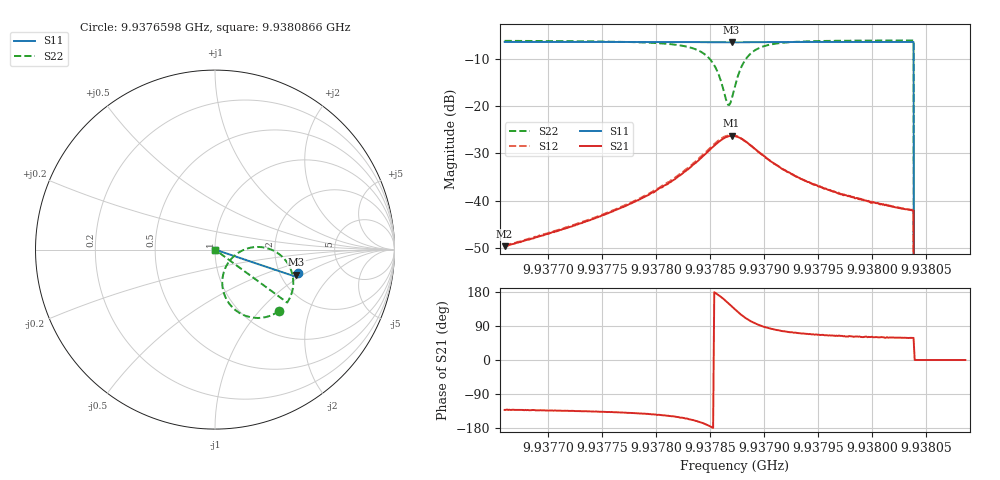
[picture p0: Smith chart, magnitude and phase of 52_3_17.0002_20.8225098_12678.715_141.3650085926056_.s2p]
#  HZ  S  RI  R  50.00
! Rohde & Schwarz Vector Network Analyzer
! Rohde-Schwarz,ZNB20-2Port,1311601062101988,3.16
! Created: UTC 3/20/2024, 10:54:21 PM
! freq[Hz]  re:S11  im:S11  re:S21  im:S21  re:S12  im:S12  re:S22  im:S22
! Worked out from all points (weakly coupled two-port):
!   401 points, 9.9376598 GHz to 9.9380866 GHz, reference 50 ohm
!   highest |S21| = -26.25 dB at 9.93787 GHz (marker M1); lowest = -49.7 dB at 9.9376598 GHz (marker M2)
!   lowest |S11| = -6.5 dB at 9.93787 GHz (marker M3), VSWR 2.81, Z = 122 - j44.2 ohm
!   |S11| at or under -10 dB: 9.9380386 GHz to end of sweep
!   |S22| runs from - to -6.0 dB; largest |S21 - S12| = 0.0032
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9.93765984e9  0.4639 -0.1295  -0.00218 -0.00245  -0.00223 -0.00247  0.3577 -0.3408
9.93773132e9  0.4621 -0.1347  -0.0041 -0.00405  -0.00425 -0.00412  0.3363 -0.3549
9.93777186e9  0.461 -0.1376  -0.00659 -0.00575  -0.00691 -0.00578  0.3117 -0.3668
9.9378028e9  0.4598 -0.1399  -0.0109 -0.00776  -0.0112 -0.00757  0.273 -0.3779
9.93782947e9  0.458 -0.1418  -0.0193 -0.00897  -0.0203 -0.00883  0.1992 -0.3771
9.93784547e9  0.4564 -0.1428  -0.0303 -0.006  -0.0317 -0.00525  0.1121 -0.3357
9.93785187e9  0.4556 -0.143  -0.0362 -0.00144  -0.0377 6.11e-05  0.0705 -0.2884
9.93785614e9  0.4548 -0.1427  -0.0399 0.00362  -0.0413 0.00541  0.0489 -0.2397
9.93786574e9  0.4539 -0.1414  -0.0422 0.0213  -0.0422 0.0243  0.0641 -0.0891
9.93786788e9  0.4539 -0.141  -0.0408 0.0259  -0.0402 0.0288  0.0862 -0.0566
9.93787001e9  0.4539 -0.1405  -0.0383 0.0301  -0.0371 0.0328  0.1145 -0.0289
9.93787321e9  0.4545 -0.1399  -0.0331 0.0351  -0.0315 0.0374  0.1645 0.000587
9.93787748e9  0.4552 -0.1397  -0.0251 0.0389  -0.023 0.0406  0.2351 0.0148
9.93788175e9  0.4559 -0.1395  -0.0171 0.0395  -0.015 0.0408  0.2978 0.00567
9.93789241e9  0.4575 -0.1406  -0.00361 0.0345  -0.00209 0.0346  0.3924 -0.0592
9.93791482e9  0.4582 -0.1433  0.00489 0.022  0.00538 0.0218  0.4358 -0.1703
9.93794469e9  0.4577 -0.1464  0.00577 0.0139  0.00588 0.0139  0.4293 -0.2355
9.93797136e9  0.457 -0.1482  0.00518 0.0104  0.00546 0.0104  0.4196 -0.2629
9.93801617e9  0.4559 -0.1515  0.00448 0.00754  0.00462 0.00749  0.407 -0.2876
9.93803644e9  0.4552 -0.153  0.00414 0.00672  0.00432 0.00671  0.4026 -0.2943
9.93804177e9  0 0  0 0  0 0  0 0
9.93808658e9  0 0  0 0  0 0  0 0
